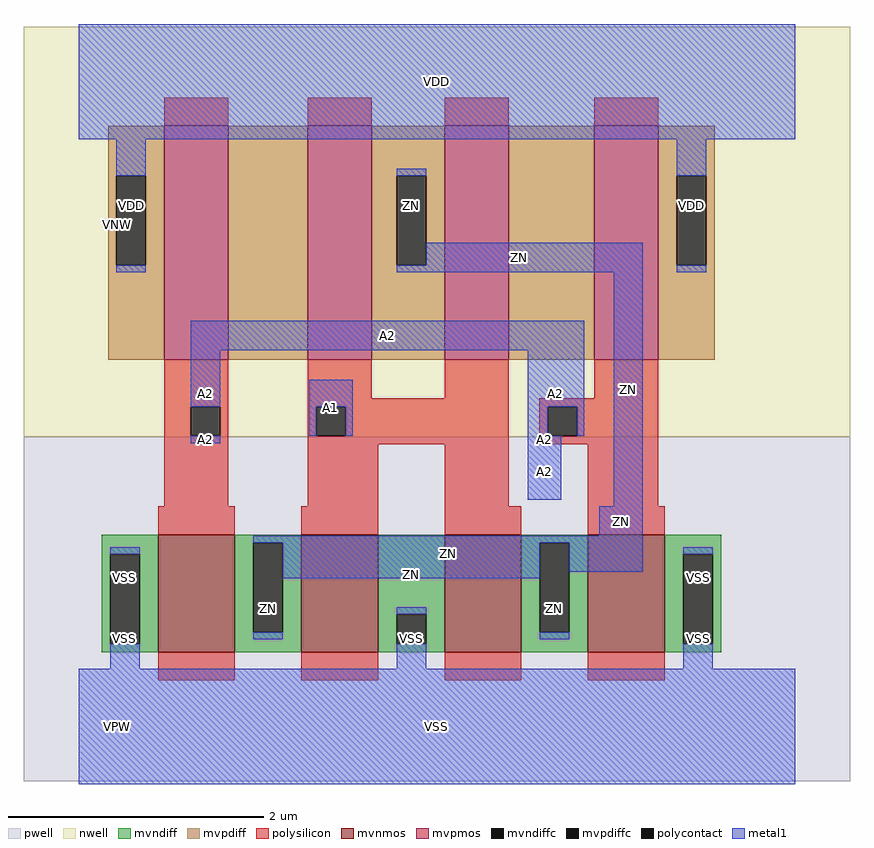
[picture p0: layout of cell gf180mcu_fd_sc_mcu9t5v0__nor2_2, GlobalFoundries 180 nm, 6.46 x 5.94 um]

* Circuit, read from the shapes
.subckt gf180mcu_fd_sc_mcu9t5v0__nor2_2 A1 A2 ZN VDD VNW VPW VSS
XM1 ZN A2 VSS VPW nfet_06v0 w=0.92u l=0.6u m=2
XM2 VSS A1 ZN VPW nfet_06v0 w=0.92u l=0.6u m=2
XM3 n1 A2 VDD VNW pfet_06v0 w=1.83u l=0.5u
XM4 ZN A1 n1 VNW pfet_06v0 w=1.83u l=0.5u
XM5 n2 A1 ZN VNW pfet_06v0 w=1.83u l=0.5u
XM6 VDD A2 n2 VNW pfet_06v0 w=1.83u l=0.5u
.ends

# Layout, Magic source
magic
tech gf180mcuD
magscale 1 10
<< nwell >>
rect -86 453 1206 1094
<< pwell >>
rect -86 -86 1206 453
<< mvnmos >>
rect 124 116 244 300
rect 348 116 468 300
rect 572 116 692 300
rect 796 116 916 300
<< mvpmos >>
rect 134 573 234 939
rect 358 573 458 939
rect 572 573 672 939
rect 806 573 906 939
<< mvndiff >>
rect 36 269 124 300
rect 36 129 49 269
rect 95 129 124 269
rect 36 116 124 129
rect 244 287 348 300
rect 244 147 273 287
rect 319 147 348 287
rect 244 116 348 147
rect 468 175 572 300
rect 468 129 497 175
rect 543 129 572 175
rect 468 116 572 129
rect 692 287 796 300
rect 692 147 721 287
rect 767 147 796 287
rect 692 116 796 147
rect 916 269 1004 300
rect 916 129 945 269
rect 991 129 1004 269
rect 916 116 1004 129
<< mvpdiff >>
rect 46 861 134 939
rect 46 721 59 861
rect 105 721 134 861
rect 46 573 134 721
rect 234 573 358 939
rect 458 861 572 939
rect 458 721 497 861
rect 543 721 572 861
rect 458 573 572 721
rect 672 573 806 939
rect 906 861 994 939
rect 906 721 935 861
rect 981 721 994 861
rect 906 573 994 721
<< mvndiffc >>
rect 49 129 95 269
rect 273 147 319 287
rect 497 129 543 175
rect 721 147 767 287
rect 945 129 991 269
<< mvpdiffc >>
rect 59 721 105 861
rect 497 721 543 861
rect 935 721 981 861
<< polysilicon >>
rect 134 939 234 983
rect 358 939 458 983
rect 572 939 672 983
rect 806 939 906 983
rect 134 500 234 573
rect 134 454 175 500
rect 221 454 234 500
rect 134 344 234 454
rect 358 513 458 573
rect 572 513 672 573
rect 806 513 906 573
rect 358 500 672 513
rect 358 454 371 500
rect 417 454 672 500
rect 358 441 672 454
rect 720 500 906 513
rect 720 454 733 500
rect 779 454 906 500
rect 720 441 906 454
rect 358 344 468 441
rect 124 300 244 344
rect 348 300 468 344
rect 572 344 672 441
rect 796 344 906 441
rect 572 300 692 344
rect 796 300 916 344
rect 124 72 244 116
rect 348 72 468 116
rect 572 72 692 116
rect 796 72 916 116
<< polycontact >>
rect 175 454 221 500
rect 371 454 417 500
rect 733 454 779 500
<< metal1 >>
rect 0 918 1120 1098
rect 59 861 105 918
rect 59 710 105 721
rect 497 861 543 872
rect 935 861 981 918
rect 543 721 882 756
rect 497 710 882 721
rect 935 710 981 721
rect 175 588 790 634
rect 175 500 221 588
rect 360 500 428 542
rect 360 454 371 500
rect 417 454 428 500
rect 702 500 790 588
rect 702 454 733 500
rect 779 454 790 500
rect 175 443 221 454
rect 702 354 754 454
rect 836 344 882 710
rect 814 298 882 344
rect 273 287 882 298
rect 49 269 95 280
rect 319 232 721 287
rect 273 136 319 147
rect 497 175 543 186
rect 49 90 95 129
rect 767 242 882 287
rect 945 269 991 280
rect 721 136 767 147
rect 497 90 543 129
rect 945 90 991 129
rect 0 -90 1120 90
<< labels >>
flabel metal1 s 360 454 428 542 0 FreeSans 200 0 0 0 A1
port 1 nsew default input
flabel metal1 s 175 588 790 634 0 FreeSans 200 0 0 0 A2
port 2 nsew default input
flabel metal1 s 0 918 1120 1098 0 FreeSans 200 0 0 0 VDD
port 4 nsew power bidirectional abutment
flabel metal1 s 945 186 991 280 0 FreeSans 200 0 0 0 VSS
port 7 nsew ground bidirectional abutment
flabel metal1 s 497 756 543 872 0 FreeSans 200 0 0 0 ZN
port 3 nsew default output
flabel nwell s 10 734 110 834 0 FreeSans 400 0 0 0 VNW
port 5 nsew power bidirectional
flabel pwell s 10 -50 110 50 0 FreeSans 400 0 0 0 VPW
port 6 nsew ground bidirectional
rlabel metal1 s 702 454 790 588 1 A2
port 2 nsew default input
rlabel metal1 s 175 454 221 588 1 A2
port 2 nsew default input
rlabel metal1 s 702 443 754 454 1 A2
port 2 nsew default input
rlabel metal1 s 175 443 221 454 1 A2
port 2 nsew default input
rlabel metal1 s 702 354 754 443 1 A2
port 2 nsew default input
rlabel metal1 s 497 710 882 756 1 ZN
port 3 nsew default output
rlabel metal1 s 836 344 882 710 1 ZN
port 3 nsew default output
rlabel metal1 s 814 298 882 344 1 ZN
port 3 nsew default output
rlabel metal1 s 273 242 882 298 1 ZN
port 3 nsew default output
rlabel metal1 s 273 232 767 242 1 ZN
port 3 nsew default output
rlabel metal1 s 721 136 767 232 1 ZN
port 3 nsew default output
rlabel metal1 s 273 136 319 232 1 ZN
port 3 nsew default output
rlabel metal1 s 935 710 981 918 1 VDD
port 4 nsew power bidirectional abutment
rlabel metal1 s 59 710 105 918 1 VDD
port 4 nsew power bidirectional abutment
rlabel metal1 s 49 186 95 280 1 VSS
port 7 nsew ground bidirectional abutment
rlabel metal1 s 945 90 991 186 1 VSS
port 7 nsew ground bidirectional abutment
rlabel metal1 s 497 90 543 186 1 VSS
port 7 nsew ground bidirectional abutment
rlabel metal1 s 49 90 95 186 1 VSS
port 7 nsew ground bidirectional abutment
rlabel metal1 s 0 -90 1120 90 1 VSS
port 7 nsew ground bidirectional abutment
<< properties >>
string FIXED_BBOX 0 0 1120 1008
string GDS_END 80722
string GDS_FILE $PDKPATH/libs.ref/gf180mcu_fd_sc_mcu9t5v0/gds/gf180mcu_fd_sc_mcu9t5v0.gds
string GDS_START 77214
string LEFclass core
string LEFsite GF018hv5v_green_sc9
string LEFsymmetry X Y
<< end >>
